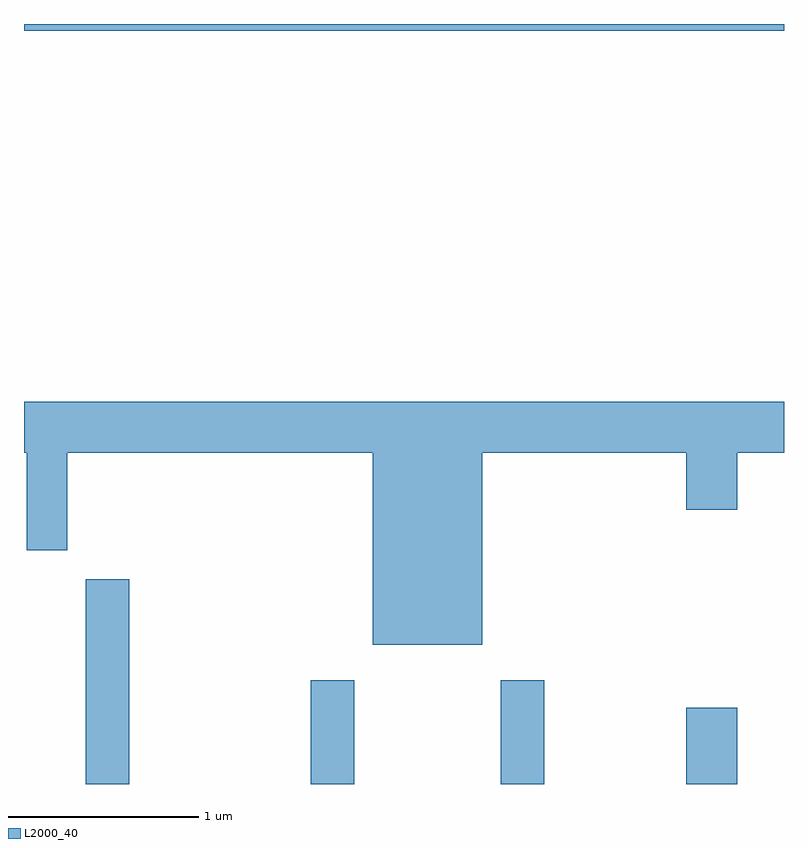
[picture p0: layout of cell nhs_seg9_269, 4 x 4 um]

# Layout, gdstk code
import gdstk
lib = gdstk.Library(unit=1e-6, precision=1e-09)
def R(c, l, rs):  # rectangles x0, y0, x1, y1
    for r in rs: c.add(gdstk.rectangle(r[:2], r[2:], *l))
def P(c, l, *ps):  # polygons
    for p in ps: c.add(gdstk.Polygon(p, *l))
L2000_40 = (2000, 40)

nhs_seg9_269 = lib.new_cell('nhs_seg9_269')
R(nhs_seg9_269, L2000_40, [(191.936,2074.432,192.164,2075.509), (193.121,2074.432,193.349,2074.979), (194.121,2074.432,194.349,2074.979), (195.096,2074.432,195.364,2074.834), (191.611,2078.396,195.611,2078.432)])
P(nhs_seg9_269, L2000_40, [(194.024,2076.176),(195.096,2076.176),(195.096,2075.876),(195.364,2075.876),(195.364,2076.176),(195.611,2076.176),(195.611,2076.444),(191.611,2076.444),(191.611,2076.176),(191.626,2076.176),(191.626,2075.661),(191.839,2075.661),(191.839,2076.176),(193.446,2076.176),(193.446,2075.166),(194.024,2075.166)])

lib.write_gds('nhs_seg9_269.gds')
